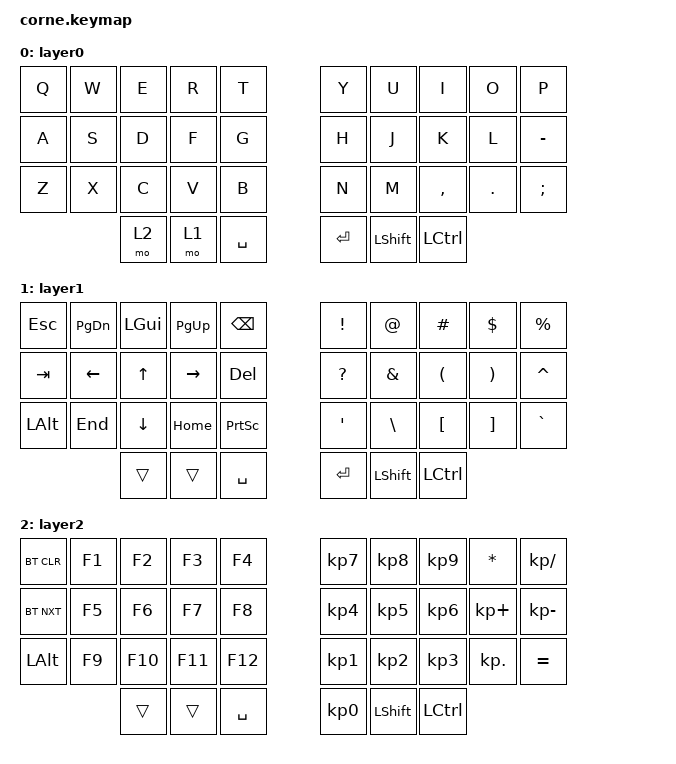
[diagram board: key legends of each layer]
/*
  * Copyright (c) 2020 The ZMK Contributors
  *
  * SPDX-License-Identifier: MIT
  */

  #include <behaviors.dtsi>
  #include <dt-bindings/zmk/keys.h>
  #include <dt-bindings/zmk/bt.h>
  #include <dt-bindings/zmk/ext_power.h>

/ {
    chosen { zmk,matrix_transform = &five_column_transform; };

    keymap {
        compatible = "zmk,keymap";

        layer0 {
            bindings = <
  &kp Q  &kp W  &kp E  &kp R  &kp T        &kp Y      &kp U           &kp I             &kp O    &kp P
  &kp A  &kp S  &kp D  &kp F  &kp G        &kp H      &kp J           &kp K             &kp L    &kp MINUS
  &kp Z  &kp X  &kp C  &kp V  &kp B        &kp N      &kp M           &kp COMMA         &kp DOT  &kp SEMICOLON
                &mo 2  &mo 1  &kp SPACE    &kp ENTER  &kp LEFT_SHIFT  &kp LEFT_CONTROL
            >;
        };

        layer1 {
            bindings = <
  &kp ESCAPE    &kp PAGE_DOWN  &kp LEFT_GUI  &kp PAGE_UP  &kp BACKSPACE      &kp EXCL   &kp AT          &kp HASH          &kp DLLR           &kp PRCNT
  &kp TAB       &kp LEFT       &kp UP        &kp RIGHT    &kp DELETE         &kp QMARK  &kp AMPS        &kp LPAR          &kp RPAR           &kp CARET
  &kp LEFT_ALT  &kp END        &kp DOWN      &kp HOME     &kp PRINTSCREEN    &kp APOS   &kp BACKSLASH   &kp LEFT_BRACKET  &kp RIGHT_BRACKET  &kp GRAVE
                               &trans        &trans       &kp SPACE          &kp ENTER  &kp LEFT_SHIFT  &kp LEFT_CONTROL
            >;
        };

        layer2 {
            bindings = <
  &bt BT_CLR    &kp F1  &kp F2   &kp F3   &kp F4       &kp KP_N7     &kp KP_N8       &kp KP_N9         &kp ASTERISK  &kp KP_SLASH
  &bt BT_NXT    &kp F5  &kp F6   &kp F7   &kp F8       &kp KP_N4     &kp KP_N5       &kp KP_N6         &kp KP_PLUS   &kp KP_MINUS
  &kp LEFT_ALT  &kp F9  &kp F10  &kp F11  &kp F12      &kp KP_N1     &kp KP_N2       &kp KP_N3         &kp KP_DOT    &kp EQUAL
                        &trans   &trans   &kp SPACE    &kp KP_N0     &kp LEFT_SHIFT  &kp LEFT_CONTROL
            >;
        };
    };
};
